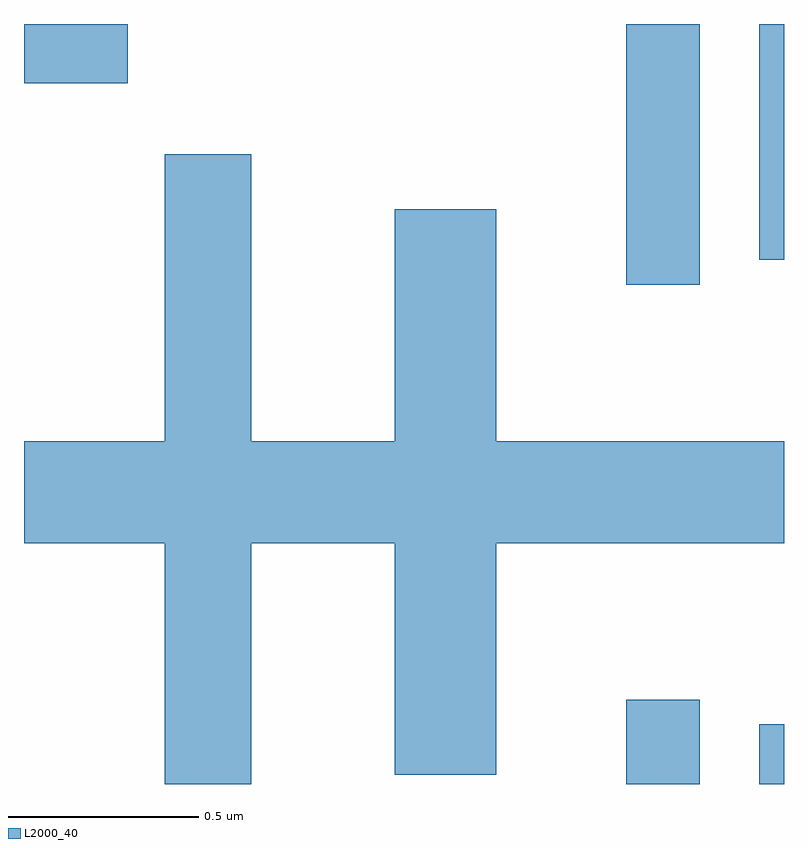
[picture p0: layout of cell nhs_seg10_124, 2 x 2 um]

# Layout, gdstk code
import gdstk
lib = gdstk.Library(unit=1e-6, precision=1e-09)
def R(c, l, rs):  # rectangles x0, y0, x1, y1
    for r in rs: c.add(gdstk.rectangle(r[:2], r[2:], *l))
def P(c, l, *ps):  # polygons
    for p in ps: c.add(gdstk.Polygon(p, *l))
L2000_40 = (2000, 40)

nhs_seg10_124 = lib.new_cell('nhs_seg10_124')
R(nhs_seg10_124, L2000_40, [(187.196,2206.522,187.389,2206.744), (187.546,2206.522,187.611,2206.679), (187.196,2207.836,187.389,2208.522), (187.546,2207.901,187.611,2208.522), (185.611,2208.366,185.884,2208.522)])
P(nhs_seg10_124, L2000_40, [(186.209,2207.156),(186.586,2207.156),(186.586,2206.546),(186.854,2206.546),(186.854,2207.156),(187.611,2207.156),(187.611,2207.424),(186.854,2207.424),(186.854,2208.034),(186.586,2208.034),(186.586,2207.424),(186.209,2207.424),(186.209,2208.179),(185.981,2208.179),(185.981,2207.424),(185.611,2207.424),(185.611,2207.156),(185.981,2207.156),(185.981,2206.522),(186.209,2206.522)])

lib.write_gds('nhs_seg10_124.gds')
